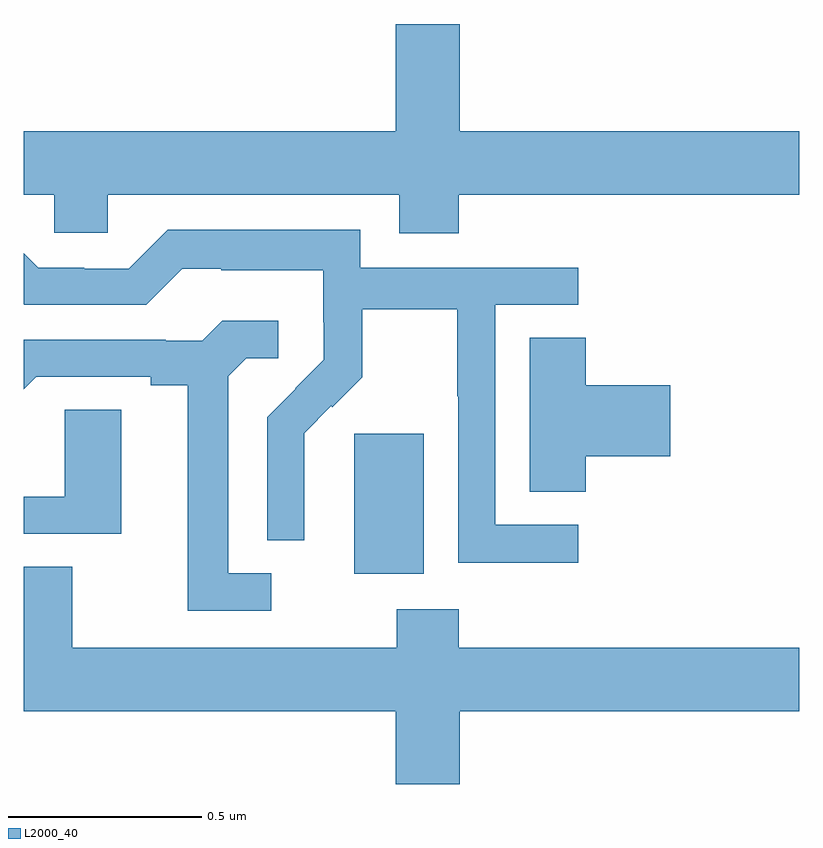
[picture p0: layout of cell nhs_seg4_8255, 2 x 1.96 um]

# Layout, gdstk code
import gdstk
lib = gdstk.Library(unit=1e-6, precision=1e-09)
def R(c, l, rs):  # rectangles x0, y0, x1, y1
    for r in rs: c.add(gdstk.rectangle(r[:2], r[2:], *l))
def P(c, l, *ps):  # polygons
    for p in ps: c.add(gdstk.Polygon(p, *l))
L2000_40 = (2000, 40)

nhs_seg4_8255 = lib.new_cell('nhs_seg4_8255')
R(nhs_seg4_8255, L2000_40, [(212.852,822.482,213.031,822.843)])
P(nhs_seg4_8255, L2000_40, [(213.122,823.46),(214,823.46),(214,823.624),(213.124,823.624),(213.124,823.9),(212.96,823.9),(212.96,823.624),(212,823.624),(212,823.46),(212.079,823.46),(212.079,823.362),(212.217,823.362),(212.217,823.46),(212.969,823.46),(212.969,823.361),(213.122,823.361)],
  [(213.43,822.609),(213.216,822.609),(213.216,823.176),(213.43,823.176),(213.43,823.272),(212.868,823.272),(212.868,823.369),(212.371,823.369),(212.271,823.269),(212.156,823.269),(212.156,823.272),(212.037,823.272),(212,823.309),(212,823.177),(212.001,823.176),(212.316,823.176),(212.409,823.269),(212.509,823.269),(212.509,823.265),(212.772,823.265),(212.772,823.131),(212.774,823.131),(212.774,823.034),(212.7,822.96),(212.701,822.959),(212.628,822.886),(212.628,822.568),(212.724,822.568),(212.724,822.722),(212.723,822.722),(212.723,822.845),(212.793,822.915),(212.796,822.912),(212.873,822.989),(212.873,823.164),(213.118,823.164),(213.118,822.94),(213.12,822.94),(213.12,822.511),(213.43,822.511)],
  [(212.638,822.483),(212.527,822.483),(212.527,822.991),(212.574,823.038),(212.656,823.038),(212.656,823.135),(212.512,823.135),(212.46,823.083),(212.366,823.083),(212.366,823.086),(212,823.086),(212,822.958),(212.032,822.99),(212.327,822.99),(212.327,822.968),(212.423,822.968),(212.423,822.387),(212.638,822.387)],
  [(213.449,822.785),(213.667,822.785),(213.667,822.968),(213.449,822.968),(213.449,823.091),(213.305,823.091),(213.305,822.694),(213.449,822.694)],
  [(212.251,822.905),(212.106,822.905),(212.106,822.681),(212,822.681),(212,822.585),(212.251,822.585)],
  [(213.124,822.128),(214,822.128),(214,822.292),(213.122,822.292),(213.122,822.391),(212.962,822.391),(212.962,822.292),(212.125,822.292),(212.125,822.5),(212,822.5),(212,822.128),(212.96,822.128),(212.96,821.94),(213.124,821.94)])

lib.write_gds('nhs_seg4_8255.gds')
